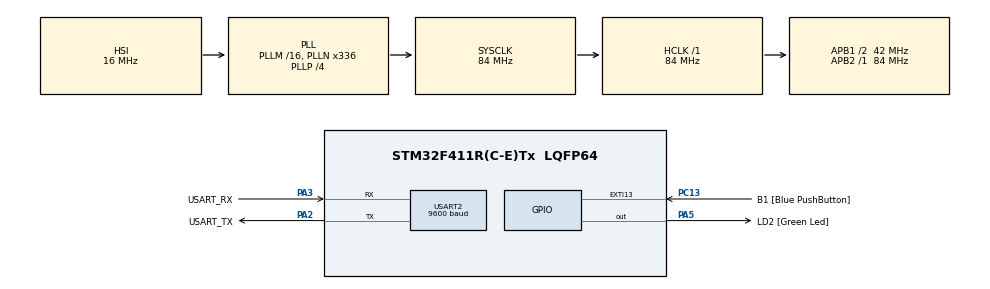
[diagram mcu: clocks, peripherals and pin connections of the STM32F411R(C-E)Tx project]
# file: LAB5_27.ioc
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Dma.Request0=USART2_RX
Dma.Request1=USART2_TX
Dma.USART2_RX.0.Direction=DMA_PERIPH_TO_MEMORY
Dma.USART2_RX.0.FIFOMode=DMA_FIFOMODE_DISABLE
Dma.USART2_RX.0.Instance=DMA1_Stream5
Dma.USART2_RX.0.MemDataAlignment=DMA_MDATAALIGN_BYTE
Dma.USART2_RX.0.MemInc=DMA_MINC_ENABLE
Dma.USART2_RX.0.Mode=DMA_CIRCULAR
Dma.USART2_RX.0.PeriphDataAlignment=DMA_PDATAALIGN_BYTE
Dma.USART2_RX.0.PeriphInc=DMA_PINC_DISABLE
Dma.USART2_RX.0.Priority=DMA_PRIORITY_LOW
Dma.USART2_TX.1.Direction=DMA_MEMORY_TO_PERIPH
Dma.USART2_TX.1.FIFOMode=DMA_FIFOMODE_DISABLE
Dma.USART2_TX.1.Instance=DMA1_Stream6
Dma.USART2_TX.1.MemDataAlignment=DMA_MDATAALIGN_BYTE
Dma.USART2_TX.1.MemInc=DMA_MINC_ENABLE
Dma.USART2_TX.1.Mode=DMA_NORMAL
Dma.USART2_TX.1.PeriphDataAlignment=DMA_PDATAALIGN_BYTE
Dma.USART2_TX.1.PeriphInc=DMA_PINC_DISABLE
Dma.USART2_TX.1.Priority=DMA_PRIORITY_LOW
Mcu.Family=STM32F4
Mcu.Name=STM32F411R(C-E)Tx
Mcu.Package=LQFP64
NVIC.DMA1_Stream5_IRQn=true\:0\:0\:false\:false\:true\:false\:true\:true
NVIC.DMA1_Stream6_IRQn=true\:0\:0\:false\:false\:true\:false\:true\:true
NVIC.PriorityGroup=NVIC_PRIORITYGROUP_0
NVIC.USART2_IRQn=true\:0\:0\:false\:false\:true\:true\:true\:true
PA13.GPIO_Label=TMS
PA13.Mode=Serial_Wire
PA13.Signal=SYS_JTMS-SWDIO
PA14.GPIO_Label=TCK
PA14.Mode=Serial_Wire
PA14.Signal=SYS_JTCK-SWCLK
PA2.GPIO_Label=USART_TX
PA2.Mode=Asynchronous
PA2.Signal=USART2_TX
PA3.GPIO_Label=USART_RX
PA3.Mode=Asynchronous
PA3.Signal=USART2_RX
PA5.GPIO_Label=LD2 [Green Led]
PA5.Signal=GPIO_Output
PB3.GPIO_Label=SWO
PB3.Signal=SYS_JTDO-SWO
PC13-ANTI_TAMP.GPIO_Label=B1 [Blue PushButton]
PC13-ANTI_TAMP.GPIO_ModeDefaultEXTI=GPIO_MODE_IT_FALLING
PC13-ANTI_TAMP.Signal=GPXTI13
PC14-OSC32_IN.Mode=LSE-External-Oscillator
PC14-OSC32_IN.Signal=RCC_OSC32_IN
PC15-OSC32_OUT.Mode=LSE-External-Oscillator
PC15-OSC32_OUT.Signal=RCC_OSC32_OUT
PH0\ -\ OSC_IN.Mode=HSE-External-Clock-Source
PH0\ -\ OSC_IN.Signal=RCC_OSC_IN
PH1\ -\ OSC_OUT.Mode=HSE-External-Clock-Source
PH1\ -\ OSC_OUT.Signal=RCC_OSC_OUT
ProjectManager.HeapSize=0x200
ProjectManager.StackSize=0x400
ProjectManager.TargetToolchain=STM32CubeIDE
RCC.48MHZClocksFreq_Value=84000000
RCC.AHBFreq_Value=84000000
RCC.APB1CLKDivider=RCC_HCLK_DIV2
RCC.APB1Freq_Value=42000000
RCC.APB1TimFreq_Value=84000000
RCC.APB2Freq_Value=84000000
RCC.APB2TimFreq_Value=84000000
RCC.CortexFreq_Value=84000000
RCC.FLatency-AdvancedSettings=FLASH_LATENCY_2
RCC.HCLKFreq_Value=84000000
RCC.HSE_VALUE=8000000
RCC.HSI_VALUE=16000000
RCC.PLLN=336
RCC.PLLP=RCC_PLLP_DIV4
RCC.SYSCLKFreq_VALUE=84000000
RCC.SYSCLKSource=RCC_SYSCLKSOURCE_PLLCLK
RCC.VCOOutputFreq_Value=336000000
USART2.BaudRate=9600
USART2.Parity=PARITY_EVEN
USART2.StopBits=STOPBITS_2
USART2.VirtualMode=VM_ASYNC
USART2.WordLength=WORDLENGTH_9B
board=NUCLEO-F411RE

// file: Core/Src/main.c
/* USER CODE BEGIN Header */
/**
  ******************************************************************************
  * @file           : main.c
  * @brief          : Main program body
  ******************************************************************************
  * @attention
  *
  * Copyright (c) 2023 STMicroelectronics.
  * All rights reserved.
  *
  * This software is licensed under terms that can be found in the LICENSE file
  * in the root directory of this software component.
  * If no LICENSE file comes with this software, it is provided AS-IS.
  *
  ******************************************************************************
  */
/* USER CODE END Header */
#include "main.h"

UART_HandleTypeDef huart2;
DMA_HandleTypeDef hdma_usart2_rx;
DMA_HandleTypeDef hdma_usart2_tx;

/* USER CODE BEGIN PV */
int LED_speed = 500;
uint8_t RxBuffer[1];
uint8_t TxBuffer[1000];
int state = 0;
int press_button = 0;
int LEDset = 0;
int button = 1;
int Hz = 1;
int press = 0;
/* USER CODE END PV */

void SystemClock_Config(void);
static void MX_GPIO_Init(void);
static void MX_DMA_Init(void);
static void MX_USART2_UART_Init(void);
/* USER CODE BEGIN PFP */
void welcome();
void LEDControl();
void UARTInterruptConfig();
/* USER CODE END PFP */

int main(void)
{

  /* MCU Configuration--------------------------------------------------------*/

  /* Reset of all peripherals, Initializes the Flash interface and the Systick. */
  HAL_Init();

  /* Configure the system clock */
  SystemClock_Config();

  /* Initialize all configured peripherals */
  MX_GPIO_Init();
  MX_DMA_Init();
  MX_USART2_UART_Init();
  /* USER CODE BEGIN 2 */
  welcome();
  UARTInterruptConfig();
  /* USER CODE END 2 */

  /* Infinite loop */
  while (1)
  {

    /* USER CODE BEGIN 3 */
	static uint32_t timestamp = 0;
	if(HAL_GetTick()>=timestamp)
	{
		timestamp = HAL_GetTick()+LED_speed;
		if (LEDset == 0)
		{
			HAL_GPIO_TogglePin(LD2_GPIO_Port,LD2_Pin);
		}
		else
		{
			HAL_GPIO_WritePin(LD2_GPIO_Port,LD2_Pin,0);
		}
	}
	press_button = HAL_GPIO_ReadPin(GPIOC, GPIO_PIN_13);
	if(press_button == 0 && button == 1 && state == 2 && press == 0)
	{
		sprintf((char*)TxBuffer,"\r\n---------------------------------------------------\r\n"
								"0o  Button is pressed  o0\r\n"
								"---------------------------------------------------\r\n");
		HAL_UART_Transmit(&huart2, TxBuffer, strlen((char*) TxBuffer),1000);
		press = 1;
	}
	else if(press_button == 1 && button == 1 && state == 2 && press == 1)
	{
		sprintf((char*)TxBuffer,"\r\n---------------------------------------------------\r\n"
								"0o  Button is unpressed  o0\r\n"
								"---------------------------------------------------\r\n");
		HAL_UART_Transmit(&huart2, TxBuffer, strlen((char*) TxBuffer),1000);
		press = 0;
	}
	button = press_button;
  }
  /* USER CODE END 3 */
}

void SystemClock_Config(void)
{
  RCC_OscInitTypeDef RCC_OscInitStruct = {0};
  RCC_ClkInitTypeDef RCC_ClkInitStruct = {0};

  /** Configure the main internal regulator output voltage
  */
  __HAL_RCC_PWR_CLK_ENABLE();
  __HAL_PWR_VOLTAGESCALING_CONFIG(PWR_REGULATOR_VOLTAGE_SCALE1);

  /** Initializes the RCC Oscillators according to the specified parameters
  * in the RCC_OscInitTypeDef structure.
  */
  RCC_OscInitStruct.OscillatorType = RCC_OSCILLATORTYPE_HSI;
  RCC_OscInitStruct.HSIState = RCC_HSI_ON;
  RCC_OscInitStruct.HSICalibrationValue = RCC_HSICALIBRATION_DEFAULT;
  RCC_OscInitStruct.PLL.PLLState = RCC_PLL_ON;
  RCC_OscInitStruct.PLL.PLLSource = RCC_PLLSOURCE_HSI;
  RCC_OscInitStruct.PLL.PLLM = 16;
  RCC_OscInitStruct.PLL.PLLN = 336;
  RCC_OscInitStruct.PLL.PLLP = RCC_PLLP_DIV4;
  RCC_OscInitStruct.PLL.PLLQ = 4;
  if (HAL_RCC_OscConfig(&RCC_OscInitStruct) != HAL_OK)
  {
    Error_Handler();
  }

  /** Initializes the CPU, AHB and APB buses clocks
  */
  RCC_ClkInitStruct.ClockType = RCC_CLOCKTYPE_HCLK|RCC_CLOCKTYPE_SYSCLK
                              |RCC_CLOCKTYPE_PCLK1|RCC_CLOCKTYPE_PCLK2;
  RCC_ClkInitStruct.SYSCLKSource = RCC_SYSCLKSOURCE_PLLCLK;
  RCC_ClkInitStruct.AHBCLKDivider = RCC_SYSCLK_DIV1;
  RCC_ClkInitStruct.APB1CLKDivider = RCC_HCLK_DIV2;
  RCC_ClkInitStruct.APB2CLKDivider = RCC_HCLK_DIV1;

  if (HAL_RCC_ClockConfig(&RCC_ClkInitStruct, FLASH_LATENCY_2) != HAL_OK)
  {
    Error_Handler();
  }
}

static void MX_USART2_UART_Init(void)
{

  huart2.Instance = USART2;
  huart2.Init.BaudRate = 9600;
  huart2.Init.WordLength = UART_WORDLENGTH_9B;
  huart2.Init.StopBits = UART_STOPBITS_2;
  huart2.Init.Parity = UART_PARITY_EVEN;
  huart2.Init.Mode = UART_MODE_TX_RX;
  huart2.Init.HwFlowCtl = UART_HWCONTROL_NONE;
  huart2.Init.OverSampling = UART_OVERSAMPLING_16;
  if (HAL_UART_Init(&huart2) != HAL_OK)
  {
    Error_Handler();
  }

}

static void MX_DMA_Init(void)
{

  /* DMA controller clock enable */
  __HAL_RCC_DMA1_CLK_ENABLE();

  /* DMA interrupt init */
  /* DMA1_Stream5_IRQn interrupt configuration */
  HAL_NVIC_SetPriority(DMA1_Stream5_IRQn, 0, 0);
  HAL_NVIC_EnableIRQ(DMA1_Stream5_IRQn);
  /* DMA1_Stream6_IRQn interrupt configuration */
  HAL_NVIC_SetPriority(DMA1_Stream6_IRQn, 0, 0);
  HAL_NVIC_EnableIRQ(DMA1_Stream6_IRQn);

}

static void MX_GPIO_Init(void)
{
  GPIO_InitTypeDef GPIO_InitStruct = {0};

  /* GPIO Ports Clock Enable */
  __HAL_RCC_GPIOC_CLK_ENABLE();
  __HAL_RCC_GPIOH_CLK_ENABLE();
  __HAL_RCC_GPIOA_CLK_ENABLE();
  __HAL_RCC_GPIOB_CLK_ENABLE();

  /*Configure GPIO pin Output Level */
  HAL_GPIO_WritePin(LD2_GPIO_Port, LD2_Pin, GPIO_PIN_RESET);

  /*Configure GPIO pin : B1_Pin */
  GPIO_InitStruct.Pin = B1_Pin;
  GPIO_InitStruct.Mode = GPIO_MODE_IT_FALLING;
  GPIO_InitStruct.Pull = GPIO_NOPULL;
  HAL_GPIO_Init(B1_GPIO_Port, &GPIO_InitStruct);

  /*Configure GPIO pin : LD2_Pin */
  GPIO_InitStruct.Pin = LD2_Pin;
  GPIO_InitStruct.Mode = GPIO_MODE_OUTPUT_PP;
  GPIO_InitStruct.Pull = GPIO_NOPULL;
  GPIO_InitStruct.Speed = GPIO_SPEED_FREQ_LOW;
  HAL_GPIO_Init(LD2_GPIO_Port, &GPIO_InitStruct);

}

/* USER CODE BEGIN 4 */
void welcome()
{
	  uint8_t text[] ="\r\n---------------------------------------------------\r\n"
					  "*Welcome to LED speed control application*\r\n"
				   	  "-->press 0 to enter LED control\r\n"
					  "-->press 1 to enter button status\r\n"
					  "---------------------------------------------------\r\n";  //30
	  HAL_UART_Transmit(&huart2, text, 218, 1000);
}

void LEDControl()
{
	static uint32_t timestamp = 0;
	if(HAL_GetTick()>=timestamp)
	{
		timestamp = HAL_GetTick()+LED_speed;
		HAL_GPIO_TogglePin(LD2_GPIO_Port,LD2_Pin);
	}
}

void UARTInterruptConfig()
{
	HAL_UART_Receive_IT(&huart2, RxBuffer, 1);
}

void HAL_UART_RxCpltCallback(UART_HandleTypeDef *huart)
{
	if(huart == &huart2)
	{

		RxBuffer[1] = '\0';
		switch (state)
		{
		case 0:
			if (RxBuffer[0] == 48) //0
			{
				sprintf((char*)TxBuffer,"\r\nReceived : %s\r\n"
										    "---------------------------------------------------\r\n"
											"-->press a to speed up +1Hz\r\n"
											"-->press s to speed down -1Hz\r\n"
											"-->press d to On/Off LED\r\n"
											"-->press x to go back\r\n"
											"---------------------------------------------------\r\n",RxBuffer);
				state = 1;
				break;
			}
			if(RxBuffer[0] == 49) //1
			{
				sprintf((char*) TxBuffer,"\r\nReceived : %s\r\n"
										     "---------------------------------------------------\r\n"
											 "-->press a blue button to show status\r\n"
										     "-->press x to go back\r\n"
											 "---------------------------------------------------\r\n",RxBuffer);
				state = 2;
				break;
			}
			if(RxBuffer[0] != 48 || RxBuffer[0] != 49)
			{
				sprintf((char*) TxBuffer, "\r\nReceived : %s\r\n"
										  "---------------------------------------------------\r\n"
										  "xxx Wrong Button xxx\r\n"
										  "---------------------------------------------------\r\n",RxBuffer);
				break;
			}
		case 1:
			if (RxBuffer[0] == 120) //x
			{
				sprintf((char*)TxBuffer,"\r\nReceived : %s\r\n"
										"---------------------------------------------------\r\n"
										"*Welcome to LED speed control application*\r\n"
										"-->press 0 to enter LED control\r\n"
										"-->press 1 to enter button status\r\n"
										"---------------------------------------------------\r\n",RxBuffer);
				state = 0;
				break;
			}
			if(RxBuffer[0] == 97) //a
			{
				Hz += 1;
				if(Hz > 0)
				{
					LED_speed = 500/Hz; //1Hz = 500 ms, 2Hz = 250 ms
				}
				else
				{
					LED_speed = 0;
				}
				sprintf((char*)TxBuffer,"\r\nReceived : %s\r\n"
										"---------------------------------------------------\r\n"
										"LED speed = %d\r\n"
										"---------------------------------------------------\r\n", RxBuffer, LED_speed);
				break;
			}
			if(RxBuffer[0] == 115) //s
			{
				Hz -= 1;
				if(Hz > 0)
				{
					LED_speed = 500/Hz; //1Hz = 500 ms, 2Hz = 250 ms
				}
				else
				{
					LED_speed = 0;
				}
				sprintf((char*) TxBuffer,"\r\nReceived : %s\r\n"
										 "---------------------------------------------------\r\n"
										 "LED speed = %d\r\n"
										 "---------------------------------------------------\r\n", RxBuffer, LED_speed);
				break;
			}
			if(RxBuffer[0] == 100) //d
			{
				if(LEDset == 1)
				{
					sprintf((char*) TxBuffer, "\r\nReceived : %s\r\n"
											  "---------------------------------------------------\r\n"
											  "LED ON\r\n"
											  "---------------------------------------------------\r\n", RxBuffer);
					LEDset = 0;
				}
				else if(LEDset == 0)
				{
					sprintf((char*) TxBuffer, "\r\nReceived : %s\r\n"
											  "---------------------------------------------------\r\n"
											  "LED OFF\r\n"
											  "---------------------------------------------------\r\n", RxBuffer);
					LEDset = 1;
				}
				break;
			}
			else
			{
				sprintf((char*) TxBuffer, "\r\nReceived : %s\r\n"
										  "---------------------------------------------------\r\n"
										  "xxx Wrong Button xxx\r\n"
										  "---------------------------------------------------\r\n",RxBuffer);
				break;
			}
		case 2:
			if(RxBuffer[0] == 120) //x
			{
				sprintf((char*)TxBuffer,"\r\nReceived : %s\r\n"
										"---------------------------------------------------\r\n"
										"*Welcome to LED speed control application*\r\n"
										"-->press 0 to enter LED control\r\n"
										"-->press 1 to enter button status\r\n"
										"---------------------------------------------------\r\n",RxBuffer);
				state = 0;
				break;
			}
			else
			{
				sprintf((char*) TxBuffer, "\r\nReceived : %s\r\n"
										  "---------------------------------------------------\r\n"
										  "xxx Wrong Button xxx\r\n"
										  "---------------------------------------------------\r\n",RxBuffer);
				break;
			}
		}
		HAL_UART_Transmit_IT(&huart2, TxBuffer, strlen((char*) TxBuffer));
		HAL_UART_Receive_IT(&huart2, RxBuffer, 1);
	}
}
/* USER CODE END 4 */

void Error_Handler(void)
{
  __disable_irq();
  while (1)
  {
  }
}
